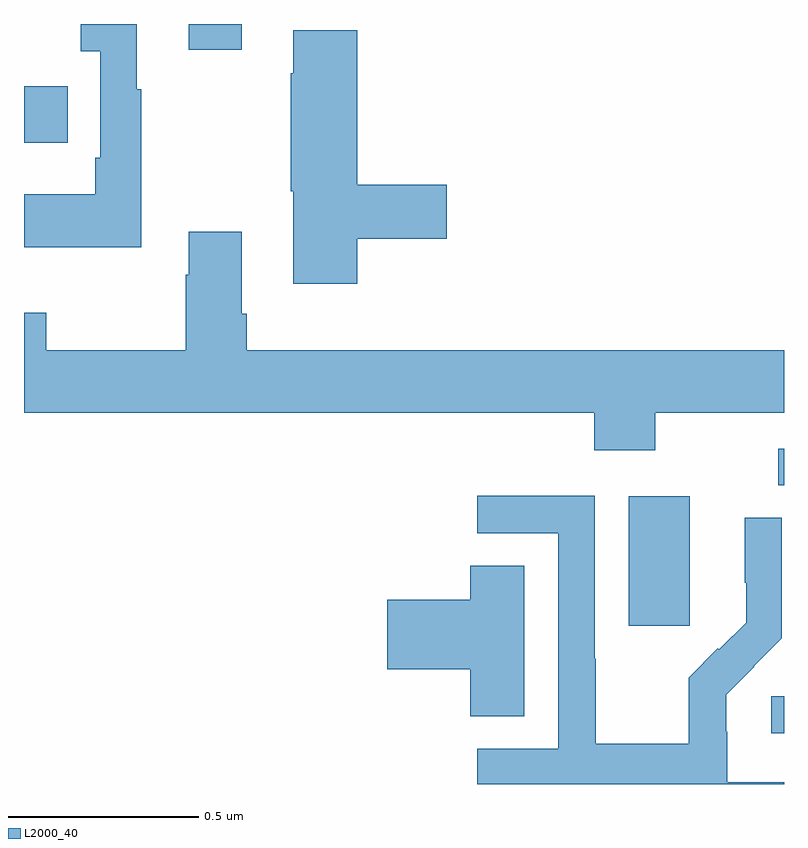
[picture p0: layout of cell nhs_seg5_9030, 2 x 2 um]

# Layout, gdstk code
import gdstk
lib = gdstk.Library(unit=1e-6, precision=1e-09)
def R(c, l, rs):  # rectangles x0, y0, x1, y1
    for r in rs: c.add(gdstk.rectangle(r[:2], r[2:], *l))
def P(c, l, *ps):  # polygons
    for p in ps: c.add(gdstk.Polygon(p, *l))
L2000_40 = (2000, 40)

nhs_seg5_9030 = lib.new_cell('nhs_seg5_9030')
R(nhs_seg5_9030, L2000_40, [(230.967,839.933,231,840.03), (230.591,840.216,230.752,840.556), (230.985,840.585,231,840.681), (229,841.487,229.115,841.635), (229.433,841.731,229.573,841.799)])
P(nhs_seg5_9030, L2000_40, [(229.309,841.627),(229.297,841.627),(229.297,841.799),(229.149,841.799),(229.149,841.727),(229.2,841.727),(229.2,841.447),(229.188,841.447),(229.188,841.351),(229,841.351),(229,841.211),(229.309,841.211)],
  [(229.877,841.234),(230.113,841.234),(230.113,841.376),(229.877,841.376),(229.877,841.783),(229.709,841.783),(229.709,841.67),(229.702,841.67),(229.702,841.359),(229.709,841.359),(229.709,841.116),(229.877,841.116)],
  [(230.661,840.776),(231,840.776),(231,840.94),(229.586,840.94),(229.586,841.036),(229.573,841.036),(229.573,841.252),(229.433,841.252),(229.433,841.139),(229.426,841.139),(229.426,840.94),(229.059,840.94),(229.059,841.039),(229,841.039),(229,840.776),(230.501,840.776),(230.501,840.677),(230.661,840.677)],
  [(231,839.803),(230.85,839.803),(230.85,839.937),(230.848,839.937),(230.848,840.034),(230.922,840.108),(230.921,840.109),(230.994,840.182),(230.994,840.5),(230.897,840.5),(230.897,840.328),(230.9,840.328),(230.9,840.224),(230.829,840.153),(230.826,840.156),(230.749,840.079),(230.749,839.905),(230.505,839.905),(230.505,840.128),(230.502,840.128),(230.502,840.558),(230.193,840.558),(230.193,840.459),(230.406,840.459),(230.406,839.892),(230.193,839.892),(230.193,839.799),(231,839.799)],
  [(230.317,840.374),(230.174,840.374),(230.174,840.284),(229.956,840.284),(229.956,840.101),(230.174,840.101),(230.174,839.977),(230.317,839.977)])

lib.write_gds('nhs_seg5_9030.gds')
